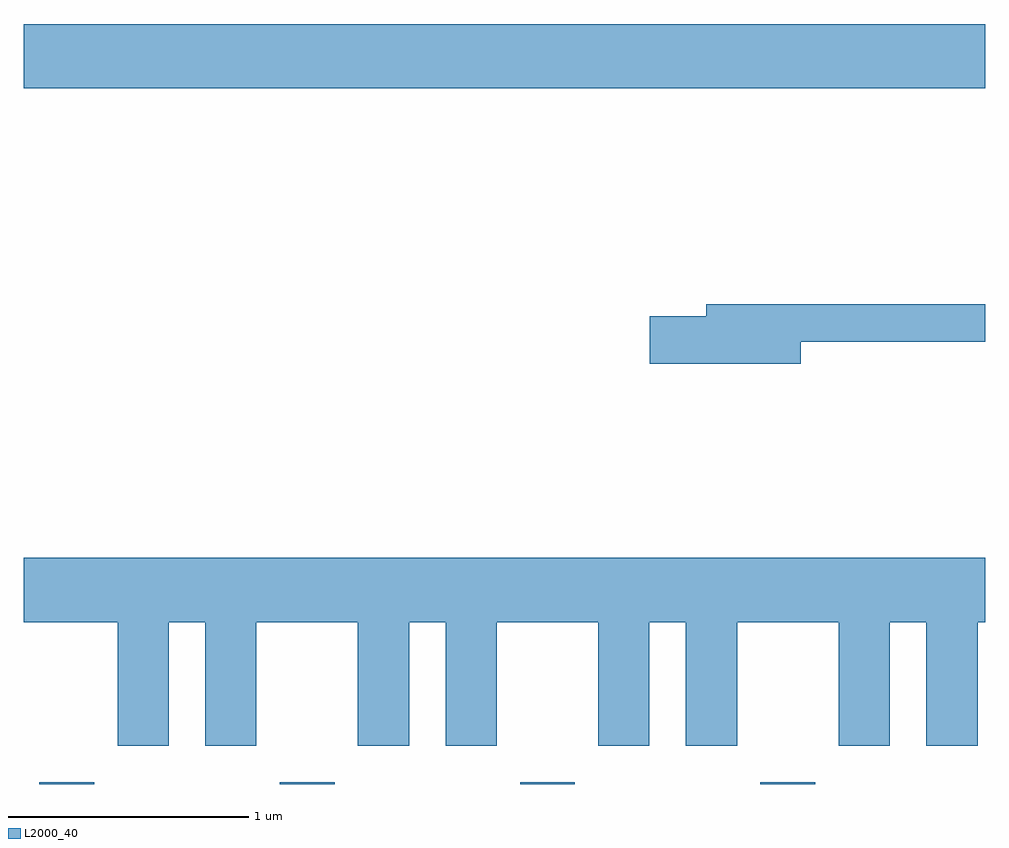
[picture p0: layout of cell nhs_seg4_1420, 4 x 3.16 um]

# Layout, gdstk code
import gdstk
lib = gdstk.Library(unit=1e-6, precision=1e-09)
def R(c, l, rs):  # rectangles x0, y0, x1, y1
    for r in rs: c.add(gdstk.rectangle(r[:2], r[2:], *l))
def A(c, l, x, y, w, h, nx, ny, dx, dy):  # array of equal rectangles
    R(c, l, [(x+i*dx, y+j*dy, x+i*dx+w, y+j*dy+h) for i in range(nx) for j in range(ny)])
def P(c, l, *ps):  # polygons
    for p in ps: c.add(gdstk.Polygon(p, *l))
L2000_40 = (2000, 40)

nhs_seg4_1420 = lib.new_cell('nhs_seg4_1420')
A(nhs_seg4_1420, L2000_40, 225.676, 1373.982, 0.228, 0.007, 4, 1, 1, 0)
R(nhs_seg4_1420, L2000_40, [(225.611,1376.876,229.611,1377.144)])
P(nhs_seg4_1420, L2000_40, [(228.844,1375.821),(229.611,1375.821),(229.611,1375.979),(228.451,1375.979),(228.451,1375.929),(228.216,1375.929),(228.216,1375.731),(228.844,1375.731)],
  [(226.214,1374.656),(226.366,1374.656),(226.366,1374.141),(226.579,1374.141),(226.579,1374.656),(227.001,1374.656),(227.001,1374.141),(227.214,1374.141),(227.214,1374.656),(227.366,1374.656),(227.366,1374.141),(227.579,1374.141),(227.579,1374.656),(228.001,1374.656),(228.001,1374.141),(228.214,1374.141),(228.214,1374.656),(228.366,1374.656),(228.366,1374.141),(228.579,1374.141),(228.579,1374.656),(229.001,1374.656),(229.001,1374.141),(229.214,1374.141),(229.214,1374.656),(229.366,1374.656),(229.366,1374.141),(229.579,1374.141),(229.579,1374.656),(229.611,1374.656),(229.611,1374.924),(225.611,1374.924),(225.611,1374.656),(226.001,1374.656),(226.001,1374.141),(226.214,1374.141)])

lib.write_gds('nhs_seg4_1420.gds')
